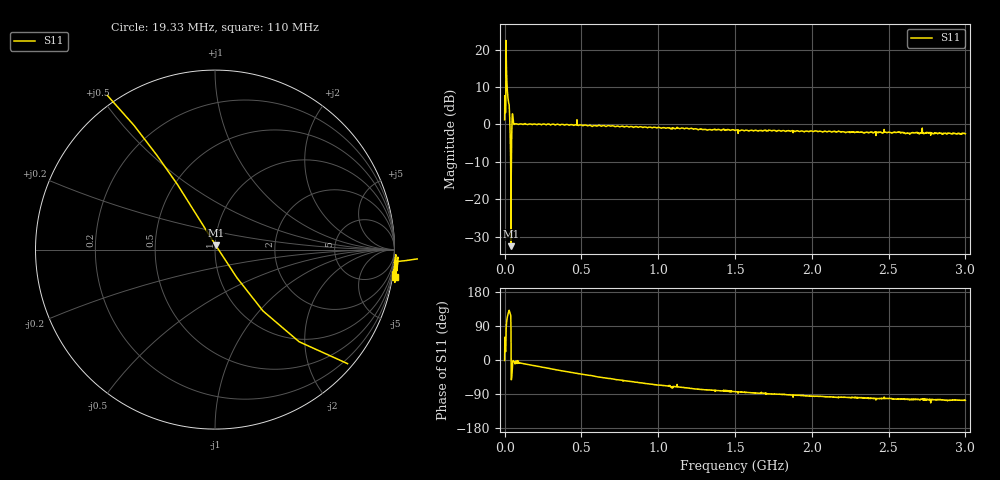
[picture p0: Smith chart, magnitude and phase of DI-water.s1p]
# HZ S RI R 50
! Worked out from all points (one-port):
!   2020 points, 10 kHz to 3 GHz, reference 50 ohm
!   lowest |S11| = -32.5 dB at 41.61 MHz (marker M1), VSWR 1.05, Z = 50.4 + j2.35 ohm
!   |S11| at or under -10 dB: 39.28 MHz to 43.99 MHz (4.703 MHz wide, 11.3 % of centre)
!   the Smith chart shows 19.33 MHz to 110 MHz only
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10000  1.152 -0.0271
2981758  1.413 0.9213
7439395  1.359 0.5661
1.635467e7  -1.1 2.993
1.784055e7  -1.126 2.598
2.378406e7  -1.163 1.749
2.526994e7  -1.176 1.629
2.675582e7  -1.184 1.527
2.972758e7  -1.202 1.375
3.269934e7  -0.7849 1.031
3.56711e7  -0.4498 0.6903
4.161461e7  0.00434 0.0233
4.755813e7  0.7387 -0.6354
5.350164e7  1.314 -0.0996
5.944516e7  1.014 -0.0664
6.39028e7  1.005 -0.0898
6.836043e7  1.002 -0.1828
7.578983e7  1.019 -0.0422
3.759374e8  0.8804 -0.4828
7.503789e8  0.5628 -0.74
1.093617e9  0.2812 -0.8471
1.126306e9  0.2919 -0.8454
1.297182e9  0.1746 -0.8409
1.500748e9  0.0922 -0.8235
1.875189e9  -0.0351 -0.8271
2.251117e9  -0.1317 -0.7735
2.625558e9  -0.1777 -0.7431
3e9  -0.2141 -0.7208
